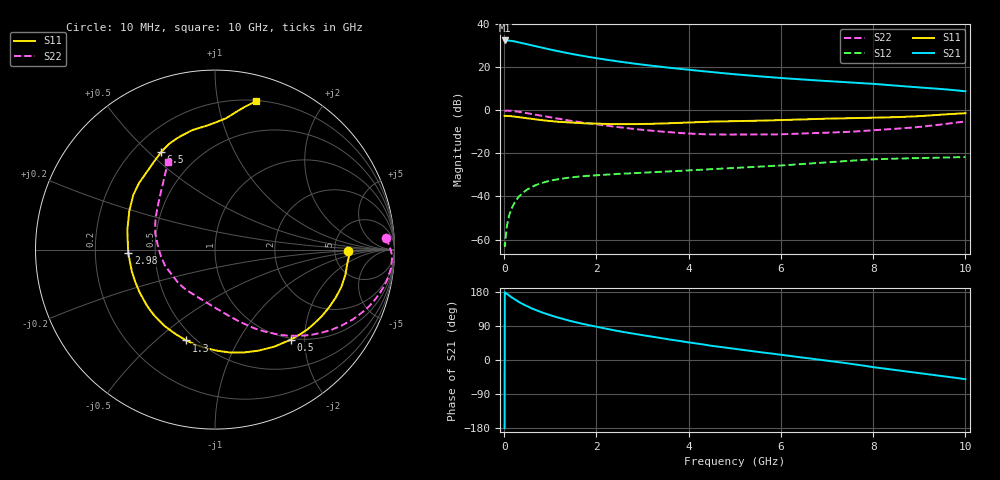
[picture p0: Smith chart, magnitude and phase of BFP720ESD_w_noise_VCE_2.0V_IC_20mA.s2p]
! Infineon Technologies  Discrete & RF Semiconductors
! BFP720ESD
! VCE =  2.0 V,  IC =  20 mA
! Common Emitter S-Parameters:  Jan 2016
# GHz  S  MA  R  50
!  f  S11  S21  S12  S22
! GHz  MAG  ANG  MAG  ANG  MAG  ANG  MAG  ANG
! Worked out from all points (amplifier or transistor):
!   233 points, 10 MHz to 10 GHz, reference 50 ohm
!   highest |S21| = 32.5 dB at 10 MHz (marker M1)
!   |S21| within 3 dB of that: start of sweep to 740.8 MHz
!   unconditionally stable (mu >= 1): 4.293 GHz to 7.058 GHz
!   at 200 MHz: K = 0.14, MSG = 38.0 dB, |S12| = -43.9 dB
!   at 1.74 GHz: K = 0.57, MSG = 27.9 dB, |S12| = -30.5 dB
!   at 10 GHz: K = 0.69, MSG = 15.3 dB, |S12| = -21.7 dB
!   lowest NFmin = 0.95 dB at 450 MHz
!   S11 on the Smith chart (normalised r, x): 10 MHz: 6.72, -0.31; 500 MHz: 0.97, -1.71; 1.3 GHz: 0.45, -0.63; 2.98 GHz: 0.35, -0.02; 6.5 GHz: 0.31, +0.55; 10 GHz: 0.20, +1.29
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0.01  0.7415 -0.8  42.12 -179.9  0.0008 129.5  0.9561 3.9
0.02  0.7492 -2.1  42.03 178.0  0.0007 91.3  0.9795 -0.1
0.1  0.7396 -11.1  41.92 171.0  0.0033 83.6  0.9869 -5.8
0.15  0.7342 -16.5  41.25 166.4  0.0049 82.2  0.9779 -9.0
0.24  0.7145 -25.7  39.54 158.9  0.0076 76.9  0.9529 -14.2
0.3  0.7017 -31.6  38.41 154.4  0.0093 73.6  0.9332 -17.5
0.38  0.6834 -39.2  36.69 149.0  0.0115 70.2  0.9043 -21.5
0.5  0.6553 -50.0  34.23 141.7  0.0145 65.4  0.8603 -26.9
0.7  0.613 -66.7  30.54 131.2  0.0186 58.3  0.7873 -34.7
0.9  0.5791 -81.8  27.35 122.2  0.0219 52.6  0.7198 -41.2
1.1  0.5512 -95.3  24.57 114.4  0.0244 47.9  0.6583 -46.9
1.3  0.531 -107.6  22.22 107.3  0.0265 44.1  0.6052 -51.9
1.68  0.5042 -127.4  18.64 95.9  0.0293 39.0  0.525 -59.6
2.2  0.4837 -149.8  15.12 82.6  0.0322 34.6  0.4444 -68.6
2.98  0.4833 -177.9  11.61 65.7  0.0355 31.0  0.3544 -82.3
3.4  0.4948 170.2  10.28 57.8  0.0374 30.2  0.323 -90.1
4  0.5241 155.6  8.791 46.4  0.0403 29.2  0.2904 -103.3
5.1  0.5647 137.2  6.752 27.8  0.0464 26.8  0.2751 -130.5
6.5  0.6199 119.1  5.194 5.9  0.057 23.2  0.2926 -162.4
6.8  0.6324 115.8  4.949 1.4  0.06 21.8  0.2978 -168.5
8.4  0.6915 94.0  3.819 -25.4  0.0752 8.5  0.368 154.5
10  0.8598 74.5  2.782 -50.7  0.0825 -4.2  0.553 118.4
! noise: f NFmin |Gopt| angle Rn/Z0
0.45  0.95  0.04  -8  0.11
0.9  0.97  0.03  -30  0.12
1.9  0.99  0.04  -77  0.14
2.4  1  0.06  -94  0.15
5.5  1.16  0.21  -108  0.13
10  1.52  0.52  -86  0.45
